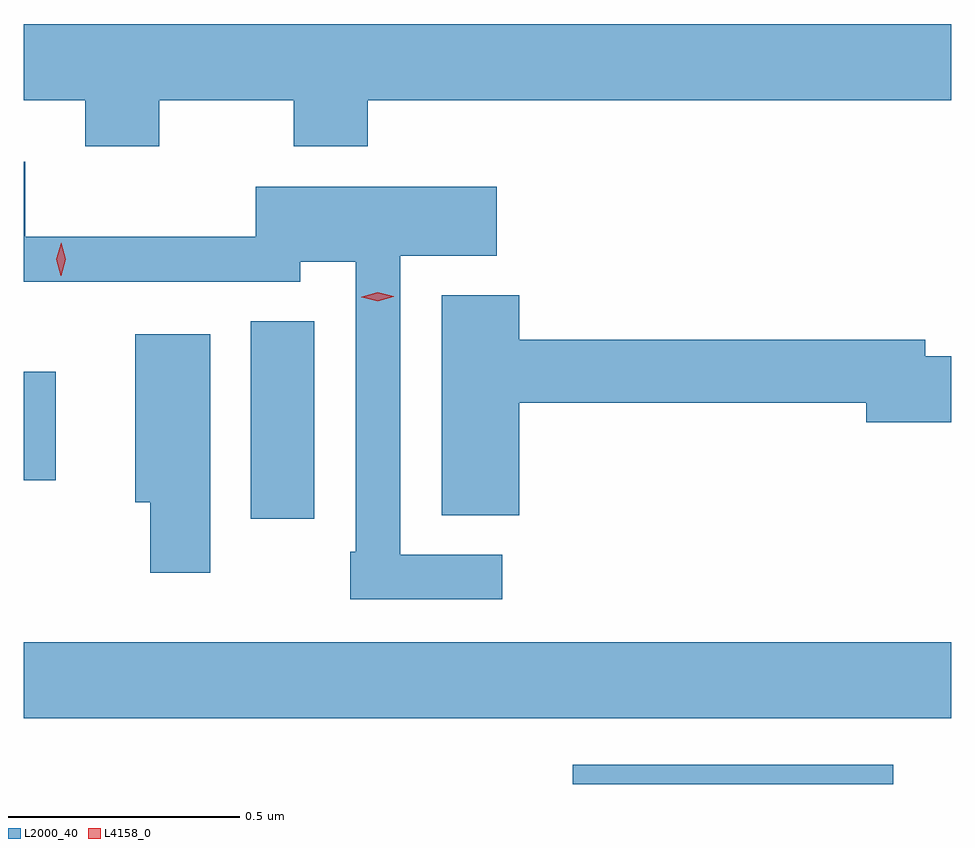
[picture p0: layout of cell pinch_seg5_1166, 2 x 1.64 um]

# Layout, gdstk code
import gdstk
lib = gdstk.Library(unit=1e-6, precision=1e-09)
def R(c, l, rs):  # rectangles x0, y0, x1, y1
    for r in rs: c.add(gdstk.rectangle(r[:2], r[2:], *l))
def P(c, l, *ps):  # polygons
    for p in ps: c.add(gdstk.Polygon(p, *l))
L2000_40 = (2000, 40)
L4158_0 = (4158, 0)

pinch_seg5_1166 = lib.new_cell('pinch_seg5_1166')
R(pinch_seg5_1166, L2000_40, [(782.982,847.294,783.673,847.336), (781.798,847.436,783.798,847.6), (782.288,847.866,782.425,848.291), (781.798,847.949,781.867,848.182)])
P(pinch_seg5_1166, L2000_40, [(782.091,848.768),(782.38,848.768),(782.38,848.669),(782.54,848.669),(782.54,848.768),(783.798,848.768),(783.798,848.932),(781.798,848.932),(781.798,848.768),(781.931,848.768),(781.931,848.669),(782.091,848.669)],
  [(782.83,847.788),(782.61,847.788),(782.61,848.432),(782.818,848.432),(782.818,848.581),(782.298,848.581),(782.298,848.474),(781.802,848.474),(781.802,848.635),(781.798,848.635),(781.798,848.376),(782.394,848.376),(782.394,848.42),(782.514,848.42),(782.514,847.795),(782.502,847.795),(782.502,847.692),(782.83,847.692)],
  [(782.866,848.116),(783.614,848.116),(783.614,848.074),(783.798,848.074),(783.798,848.216),(783.742,848.216),(783.742,848.252),(782.866,848.252),(782.866,848.347),(782.699,848.347),(782.699,847.873),(782.866,847.873)],
  [(782.2,848.263),(782.039,848.263),(782.039,847.901),(782.071,847.901),(782.071,847.749),(782.2,847.749)])
P(pinch_seg5_1166, L4158_0, [(782.561,848.334),(782.527,848.343),(782.526,848.343),(782.527,848.344),(782.561,848.354),(782.596,848.345),(782.596,848.345),(782.596,848.344)],
  [(781.878,848.389),(781.878,848.389),(781.869,848.425),(781.879,848.461),(781.879,848.461),(781.879,848.461),(781.889,848.425),(781.879,848.389)])

lib.write_gds('pinch_seg5_1166.gds')
